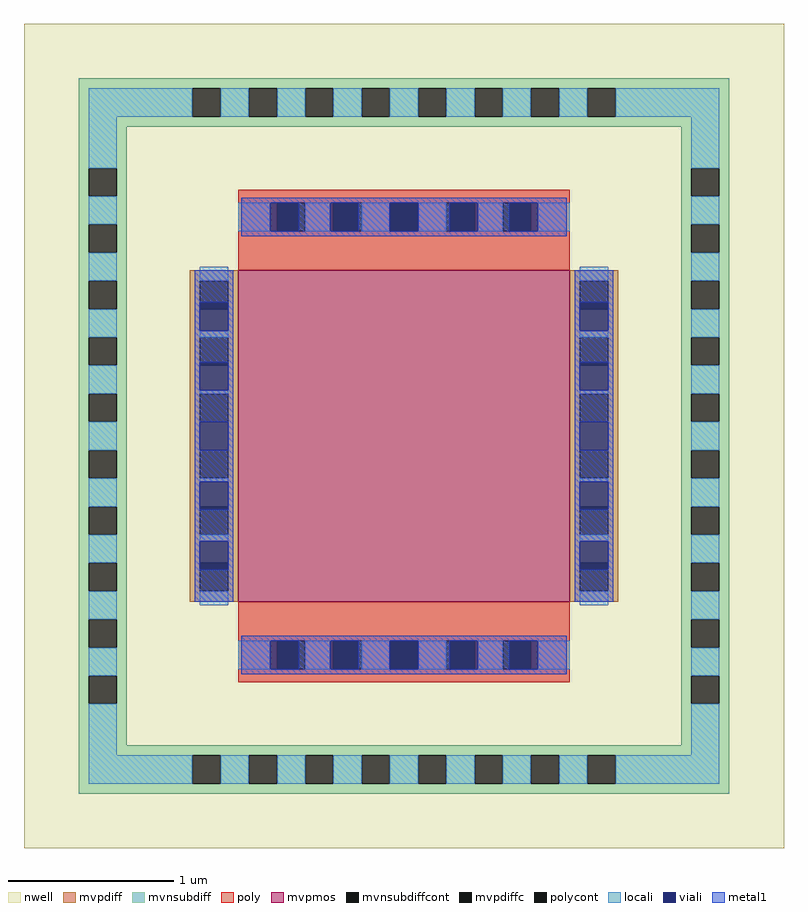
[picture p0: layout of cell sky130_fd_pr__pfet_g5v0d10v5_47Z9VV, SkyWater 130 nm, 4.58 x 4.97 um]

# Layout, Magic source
magic
tech sky130A
magscale 1 2
<< nwell >>
rect -458 -497 458 497
<< mvpmos >>
rect -200 -200 200 200
<< mvpdiff >>
rect -258 187 -200 200
rect -258 153 -246 187
rect -212 153 -200 187
rect -258 119 -200 153
rect -258 85 -246 119
rect -212 85 -200 119
rect -258 51 -200 85
rect -258 17 -246 51
rect -212 17 -200 51
rect -258 -17 -200 17
rect -258 -51 -246 -17
rect -212 -51 -200 -17
rect -258 -85 -200 -51
rect -258 -119 -246 -85
rect -212 -119 -200 -85
rect -258 -153 -200 -119
rect -258 -187 -246 -153
rect -212 -187 -200 -153
rect -258 -200 -200 -187
rect 200 187 258 200
rect 200 153 212 187
rect 246 153 258 187
rect 200 119 258 153
rect 200 85 212 119
rect 246 85 258 119
rect 200 51 258 85
rect 200 17 212 51
rect 246 17 258 51
rect 200 -17 258 17
rect 200 -51 212 -17
rect 246 -51 258 -17
rect 200 -85 258 -51
rect 200 -119 212 -85
rect 246 -119 258 -85
rect 200 -153 258 -119
rect 200 -187 212 -153
rect 246 -187 258 -153
rect 200 -200 258 -187
<< mvpdiffc >>
rect -246 153 -212 187
rect -246 85 -212 119
rect -246 17 -212 51
rect -246 -51 -212 -17
rect -246 -119 -212 -85
rect -246 -187 -212 -153
rect 212 153 246 187
rect 212 85 246 119
rect 212 17 246 51
rect 212 -51 246 -17
rect 212 -119 246 -85
rect 212 -187 246 -153
<< mvnsubdiff >>
rect -392 419 392 431
rect -392 385 -255 419
rect -221 385 -187 419
rect -153 385 -119 419
rect -85 385 -51 419
rect -17 385 17 419
rect 51 385 85 419
rect 119 385 153 419
rect 187 385 221 419
rect 255 385 392 419
rect -392 373 392 385
rect -392 323 -334 373
rect -392 289 -380 323
rect -346 289 -334 323
rect 334 323 392 373
rect -392 255 -334 289
rect -392 221 -380 255
rect -346 221 -334 255
rect -392 187 -334 221
rect 334 289 346 323
rect 380 289 392 323
rect 334 255 392 289
rect 334 221 346 255
rect 380 221 392 255
rect -392 153 -380 187
rect -346 153 -334 187
rect -392 119 -334 153
rect -392 85 -380 119
rect -346 85 -334 119
rect -392 51 -334 85
rect -392 17 -380 51
rect -346 17 -334 51
rect -392 -17 -334 17
rect -392 -51 -380 -17
rect -346 -51 -334 -17
rect -392 -85 -334 -51
rect -392 -119 -380 -85
rect -346 -119 -334 -85
rect -392 -153 -334 -119
rect -392 -187 -380 -153
rect -346 -187 -334 -153
rect -392 -221 -334 -187
rect 334 187 392 221
rect 334 153 346 187
rect 380 153 392 187
rect 334 119 392 153
rect 334 85 346 119
rect 380 85 392 119
rect 334 51 392 85
rect 334 17 346 51
rect 380 17 392 51
rect 334 -17 392 17
rect 334 -51 346 -17
rect 380 -51 392 -17
rect 334 -85 392 -51
rect 334 -119 346 -85
rect 380 -119 392 -85
rect 334 -153 392 -119
rect 334 -187 346 -153
rect 380 -187 392 -153
rect -392 -255 -380 -221
rect -346 -255 -334 -221
rect -392 -289 -334 -255
rect -392 -323 -380 -289
rect -346 -323 -334 -289
rect 334 -221 392 -187
rect 334 -255 346 -221
rect 380 -255 392 -221
rect 334 -289 392 -255
rect -392 -373 -334 -323
rect 334 -323 346 -289
rect 380 -323 392 -289
rect 334 -373 392 -323
rect -392 -385 392 -373
rect -392 -419 -255 -385
rect -221 -419 -187 -385
rect -153 -419 -119 -385
rect -85 -419 -51 -385
rect -17 -419 17 -385
rect 51 -419 85 -385
rect 119 -419 153 -385
rect 187 -419 221 -385
rect 255 -419 392 -385
rect -392 -431 392 -419
<< mvnsubdiffcont >>
rect -255 385 -221 419
rect -187 385 -153 419
rect -119 385 -85 419
rect -51 385 -17 419
rect 17 385 51 419
rect 85 385 119 419
rect 153 385 187 419
rect 221 385 255 419
rect -380 289 -346 323
rect -380 221 -346 255
rect 346 289 380 323
rect 346 221 380 255
rect -380 153 -346 187
rect -380 85 -346 119
rect -380 17 -346 51
rect -380 -51 -346 -17
rect -380 -119 -346 -85
rect -380 -187 -346 -153
rect 346 153 380 187
rect 346 85 380 119
rect 346 17 380 51
rect 346 -51 380 -17
rect 346 -119 380 -85
rect 346 -187 380 -153
rect -380 -255 -346 -221
rect -380 -323 -346 -289
rect 346 -255 380 -221
rect 346 -323 380 -289
rect -255 -419 -221 -385
rect -187 -419 -153 -385
rect -119 -419 -85 -385
rect -51 -419 -17 -385
rect 17 -419 51 -385
rect 85 -419 119 -385
rect 153 -419 187 -385
rect 221 -419 255 -385
<< poly >>
rect -200 281 200 297
rect -200 247 -153 281
rect -119 247 -85 281
rect -51 247 -17 281
rect 17 247 51 281
rect 85 247 119 281
rect 153 247 200 281
rect -200 200 200 247
rect -200 -247 200 -200
rect -200 -281 -153 -247
rect -119 -281 -85 -247
rect -51 -281 -17 -247
rect 17 -281 51 -247
rect 85 -281 119 -247
rect 153 -281 200 -247
rect -200 -297 200 -281
<< polycont >>
rect -153 247 -119 281
rect -85 247 -51 281
rect -17 247 17 281
rect 51 247 85 281
rect 119 247 153 281
rect -153 -281 -119 -247
rect -85 -281 -51 -247
rect -17 -281 17 -247
rect 51 -281 85 -247
rect 119 -281 153 -247
<< locali >>
rect -380 385 -255 419
rect -221 385 -187 419
rect -153 385 -119 419
rect -85 385 -51 419
rect -17 385 17 419
rect 51 385 85 419
rect 119 385 153 419
rect 187 385 221 419
rect 255 385 380 419
rect -380 323 -346 385
rect -380 255 -346 289
rect 346 323 380 385
rect -200 247 -161 281
rect -119 247 -89 281
rect -51 247 -17 281
rect 17 247 51 281
rect 89 247 119 281
rect 161 247 200 281
rect 346 255 380 289
rect -380 187 -346 221
rect -380 119 -346 153
rect -380 51 -346 85
rect -380 -17 -346 17
rect -380 -85 -346 -51
rect -380 -153 -346 -119
rect -380 -221 -346 -187
rect -246 187 -212 204
rect -246 119 -212 127
rect -246 51 -212 55
rect -246 -55 -212 -51
rect -246 -127 -212 -119
rect -246 -204 -212 -187
rect 212 187 246 204
rect 212 119 246 127
rect 212 51 246 55
rect 212 -55 246 -51
rect 212 -127 246 -119
rect 212 -204 246 -187
rect 346 187 380 221
rect 346 119 380 153
rect 346 51 380 85
rect 346 -17 380 17
rect 346 -85 380 -51
rect 346 -153 380 -119
rect 346 -221 380 -187
rect -380 -289 -346 -255
rect -200 -281 -161 -247
rect -119 -281 -89 -247
rect -51 -281 -17 -247
rect 17 -281 51 -247
rect 89 -281 119 -247
rect 161 -281 200 -247
rect -380 -385 -346 -323
rect 346 -289 380 -255
rect 346 -385 380 -323
rect -380 -419 -255 -385
rect -221 -419 -187 -385
rect -153 -419 -119 -385
rect -85 -419 -51 -385
rect -17 -419 17 -385
rect 51 -419 85 -385
rect 119 -419 153 -385
rect 187 -419 221 -385
rect 255 -419 380 -385
<< viali >>
rect -161 247 -153 281
rect -153 247 -127 281
rect -89 247 -85 281
rect -85 247 -55 281
rect -17 247 17 281
rect 55 247 85 281
rect 85 247 89 281
rect 127 247 153 281
rect 153 247 161 281
rect -246 153 -212 161
rect -246 127 -212 153
rect -246 85 -212 89
rect -246 55 -212 85
rect -246 -17 -212 17
rect -246 -85 -212 -55
rect -246 -89 -212 -85
rect -246 -153 -212 -127
rect -246 -161 -212 -153
rect 212 153 246 161
rect 212 127 246 153
rect 212 85 246 89
rect 212 55 246 85
rect 212 -17 246 17
rect 212 -85 246 -55
rect 212 -89 246 -85
rect 212 -153 246 -127
rect 212 -161 246 -153
rect -161 -281 -153 -247
rect -153 -281 -127 -247
rect -89 -281 -85 -247
rect -85 -281 -55 -247
rect -17 -281 17 -247
rect 55 -281 85 -247
rect 85 -281 89 -247
rect 127 -281 153 -247
rect 153 -281 161 -247
<< metal1 >>
rect -196 281 196 287
rect -196 247 -161 281
rect -127 247 -89 281
rect -55 247 -17 281
rect 17 247 55 281
rect 89 247 127 281
rect 161 247 196 281
rect -196 241 196 247
rect -252 161 -206 200
rect -252 127 -246 161
rect -212 127 -206 161
rect -252 89 -206 127
rect -252 55 -246 89
rect -212 55 -206 89
rect -252 17 -206 55
rect -252 -17 -246 17
rect -212 -17 -206 17
rect -252 -55 -206 -17
rect -252 -89 -246 -55
rect -212 -89 -206 -55
rect -252 -127 -206 -89
rect -252 -161 -246 -127
rect -212 -161 -206 -127
rect -252 -200 -206 -161
rect 206 161 252 200
rect 206 127 212 161
rect 246 127 252 161
rect 206 89 252 127
rect 206 55 212 89
rect 246 55 252 89
rect 206 17 252 55
rect 206 -17 212 17
rect 246 -17 252 17
rect 206 -55 252 -17
rect 206 -89 212 -55
rect 246 -89 252 -55
rect 206 -127 252 -89
rect 206 -161 212 -127
rect 246 -161 252 -127
rect 206 -200 252 -161
rect -196 -247 196 -241
rect -196 -281 -161 -247
rect -127 -281 -89 -247
rect -55 -281 -17 -247
rect 17 -281 55 -247
rect 89 -281 127 -247
rect 161 -281 196 -247
rect -196 -287 196 -281
<< properties >>
string FIXED_BBOX -363 -402 363 402
<< end >>
